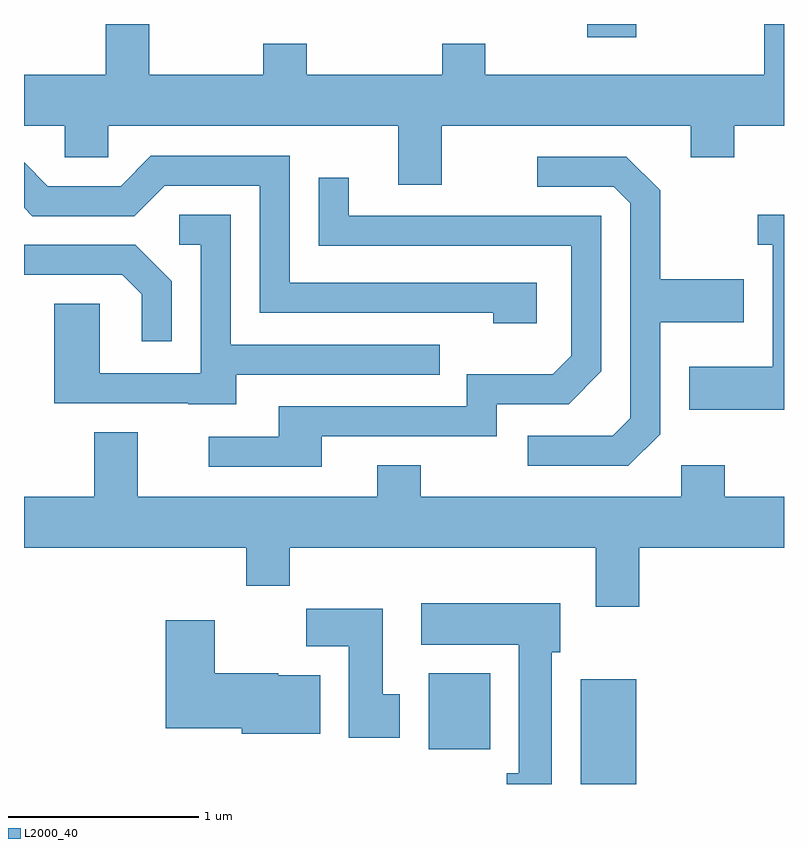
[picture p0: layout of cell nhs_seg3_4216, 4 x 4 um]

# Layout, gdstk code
import gdstk
lib = gdstk.Library(unit=1e-6, precision=1e-09)
def R(c, l, rs):  # rectangles x0, y0, x1, y1
    for r in rs: c.add(gdstk.rectangle(r[:2], r[2:], *l))
def P(c, l, *ps):  # polygons
    for p in ps: c.add(gdstk.Polygon(p, *l))
L2000_40 = (2000, 40)

nhs_seg3_4216 = lib.new_cell('nhs_seg3_4216')
R(nhs_seg3_4216, L2000_40, [(312.541,1115.892,312.834,1116.444), (311.741,1116.076,312.064,1116.474), (312.576,1119.821,312.834,1119.892)])
P(nhs_seg3_4216, L2000_40, [(311.809,1119.356),(313.121,1119.356),(313.121,1119.191),(313.349,1119.191),(313.349,1119.356),(313.611,1119.356),(313.611,1119.892),(313.506,1119.892),(313.506,1119.624),(312.039,1119.624),(312.039,1119.789),(311.811,1119.789),(311.811,1119.624),(311.099,1119.624),(311.099,1119.789),(310.871,1119.789),(310.871,1119.624),(310.269,1119.624),(310.269,1119.892),(310.041,1119.892),(310.041,1119.624),(309.611,1119.624),(309.611,1119.356),(309.826,1119.356),(309.826,1119.191),(310.054,1119.191),(310.054,1119.356),(311.581,1119.356),(311.581,1119.046),(311.809,1119.046)],
  [(312.309,1118.529),(311.009,1118.529),(311.009,1119.199),(310.279,1119.199),(310.119,1119.039),(309.737,1119.039),(309.611,1119.165),(309.611,1118.924),(309.654,1118.881),(310.192,1118.881),(310.352,1119.041),(310.851,1119.041),(310.851,1118.371),(312.081,1118.371),(312.081,1118.316),(312.309,1118.316)],
  [(312.959,1117.734),(312.959,1118.321),(313.399,1118.321),(313.399,1118.549),(312.959,1118.549),(312.959,1119.017),(312.782,1119.194),(312.313,1119.194),(312.313,1119.036),(312.714,1119.036),(312.801,1118.949),(312.801,1117.817),(312.709,1117.724),(312.263,1117.724),(312.263,1117.566),(312.792,1117.566)],
  [(311.179,1117.721),(312.099,1117.721),(312.099,1117.891),(312.477,1117.891),(312.649,1118.064),(312.649,1118.884),(311.319,1118.884),(311.319,1119.083),(311.161,1119.083),(311.161,1118.726),(312.491,1118.726),(312.491,1118.147),(312.394,1118.049),(311.941,1118.049),(311.941,1117.879),(310.951,1117.879),(310.951,1117.719),(310.583,1117.719),(310.583,1117.561),(311.179,1117.561)],
  [(313.611,1118.889),(313.473,1118.889),(313.473,1118.731),(313.551,1118.731),(313.551,1118.089),(313.111,1118.089),(313.111,1117.861),(313.611,1117.861)],
  [(310.729,1118.046),(311.798,1118.046),(311.798,1118.204),(310.699,1118.204),(310.699,1118.889),(310.428,1118.889),(310.428,1118.731),(310.541,1118.731),(310.541,1118.054),(310.009,1118.054),(310.009,1118.419),(309.771,1118.419),(309.771,1117.896),(310.475,1117.896),(310.475,1117.891),(310.729,1117.891)],
  [(310.389,1118.537),(310.197,1118.729),(309.611,1118.729),(309.611,1118.571),(310.129,1118.571),(310.231,1118.469),(310.231,1118.223),(310.389,1118.223)],
  [(312.849,1117.136),(313.611,1117.136),(313.611,1117.404),(313.299,1117.404),(313.299,1117.569),(313.071,1117.569),(313.071,1117.404),(311.699,1117.404),(311.699,1117.569),(311.471,1117.569),(311.471,1117.404),(310.209,1117.404),(310.209,1117.744),(309.981,1117.744),(309.981,1117.404),(309.611,1117.404),(309.611,1117.136),(310.781,1117.136),(310.781,1116.936),(311.009,1116.936),(311.009,1117.136),(312.621,1117.136),(312.621,1116.826),(312.849,1116.826)],
  [(312.389,1116.586),(312.434,1116.586),(312.434,1116.844),(311.701,1116.844),(311.701,1116.626),(312.216,1116.626),(312.216,1115.949),(312.153,1115.949),(312.153,1115.892),(312.389,1115.892)],
  [(311.589,1116.364),(311.499,1116.364),(311.499,1116.814),(311.096,1116.814),(311.096,1116.616),(311.321,1116.616),(311.321,1116.136),(311.589,1116.136)],
  [(311.169,1116.464),(310.95,1116.464),(310.95,1116.474),(310.614,1116.474),(310.614,1116.754),(310.356,1116.754),(310.356,1116.186),(310.756,1116.186),(310.756,1116.156),(311.169,1116.156)])

lib.write_gds('nhs_seg3_4216.gds')
